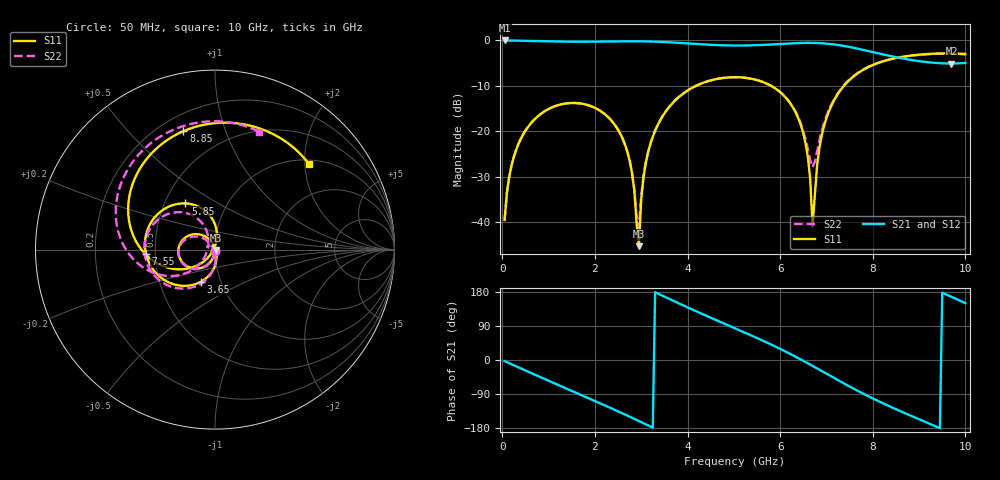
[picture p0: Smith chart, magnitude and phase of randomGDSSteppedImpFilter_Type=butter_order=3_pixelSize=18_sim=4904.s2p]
! freq	dB(S11)	phase(S11)	dB(S12)	phase(S12)
!  dB(S21)	phase(S21)	dB(S22)	phase(S22)
!S-par simulation data
#  GHz  S  DB  R 50
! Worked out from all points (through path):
!   200 points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, 50 MHz to 10 GHz, reference 50 ohm
!   highest |S21| = -0.01 dB at 50 MHz (marker M1); lowest = -5.1 dB at 9.7 GHz (marker M2)
!   group delay of S21, straight-line fit = 160 ps
!   lowest |S11| = -45.4 dB at 2.95 GHz (marker M3), VSWR 1.01, Z = 50.5 - j0.253 ohm
!   |S11| at or under -10 dB: start of sweep to 4.186 GHz; 5.802 GHz to 7.378 GHz (1.576 GHz wide, 23.9 % of centre)
!   |S22| runs from -41.2 to -2.9 dB; largest |S21 - S12| = 0
!   S11 on the Smith chart (normalised r, x): 50 MHz: 1.00, -0.02; 3.65 GHz: 0.80, -0.30; 5.85 GHz: 0.64, +0.36; 7.55 GHz: 0.44, -0.03; 8.85 GHz: 0.29, +0.73; 10 GHz: 1.09, +2.09
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0.05  -39.56 -93.0  -0.01 -2.9  -0.01 -2.9  -39.55 -92.9
0.2  -27.54 -101.7  -0.04 -11.1  -0.04 -11.1  -27.54 -101.3
0.5  -19.89 -118.6  -0.08 -27.6  -0.08 -27.6  -19.89 -117.6
1.75  -14.01 172.8  -0.29 -94.6  -0.29 -94.6  -14.01 176.9
2.65  -22.98 121.0  -0.20 -143.9  -0.20 -143.9  -22.98 132.6
2.8  -29.12 109.6  -0.19 -152.4  -0.19 -152.4  -29.06 130.3
2.95  -45.35 -27.7  -0.20 -161.0  -0.20 -161.0  -41.18 -131.1
3.1  -26.93 -78.6  -0.22 -169.7  -0.22 -169.7  -26.76 -87.0
3.4  -17.79 -98.8  -0.31 173.0  -0.31 173.0  -17.74 -98.1
3.65  -14.12 -113.9  -0.44 158.6  -0.44 158.6  -14.09 -110.9
5.05  -8.11 167.9  -1.12 82.4  -1.12 82.4  -8.09 177.6
5.85  -10.29 122.7  -0.87 38.3  -0.87 38.3  -10.26 137.6
6.5  -20.49 83.8  -0.54 -2.2  -0.54 -2.2  -19.99 115.0
6.65  -30.74 84.1  -0.53 -12.2  -0.53 -12.2  -26.43 139.6
6.7  -40.92 122.8  -0.54 -15.6  -0.54 -15.6  -27.92 165.1
6.8  -27.34 -131.7  -0.57 -22.4  -0.57 -22.4  -24.39 -150.0
6.95  -18.77 -136.1  -0.66 -32.7  -0.66 -32.7  -18.11 -136.8
7.55  -8.23 -176.1  -1.55 -73.3  -1.55 -73.3  -8.14 -162.9
8.35  -4.24 133.4  -3.37 -121.5  -3.37 -121.5  -4.23 153.0
8.85  -3.31 104.9  -4.34 -148.5  -4.34 -148.5  -3.33 127.6
9.7  -2.85 58.9  -5.09 166.8  -5.09 166.8  -2.92 85.3
10  -3.00 42.4  -4.96 150.0  -4.96 150.0  -3.08 69.5
